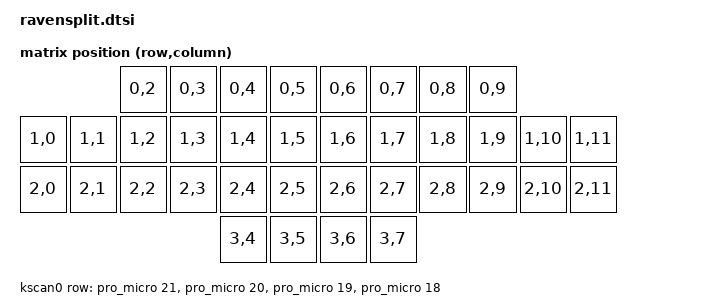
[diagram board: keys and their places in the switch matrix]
#include <dt-bindings/zmk/matrix_transform.h>


/ {
    chosen {
        zmk,kscan = &kscan0;
        zmk,matrix_transform = &default_transform;
    };

    default_transform: keymap_transform_0 {
        compatible = "zmk,matrix-transform";
        columns = <12>;
        rows = <4>;

        map = <
                RC(0,2) RC(0,3) RC(0,4) RC(0,5)  RC(0,6) RC(0,7) RC(0,8) RC(0,9)
RC(1,0) RC(1,1) RC(1,2) RC(1,3) RC(1,4) RC(1,5)  RC(1,6) RC(1,7) RC(1,8) RC(1,9) RC(1,10) RC(1,11)
RC(2,0) RC(2,1) RC(2,2) RC(2,3) RC(2,4) RC(2,5)  RC(2,6) RC(2,7) RC(2,8) RC(2,9) RC(2,10) RC(2,11)
                                RC(3,4) RC(3,5)  RC(3,6) RC(3,7)
        >;
    };

    kscan0: kscan_0 {
        compatible = "zmk,kscan-gpio-matrix";
        wakeup-source;

        diode-direction = "col2row";

        row-gpios
            = <&pro_micro 21 (GPIO_ACTIVE_HIGH | GPIO_PULL_DOWN)> // R0
            , <&pro_micro 20 (GPIO_ACTIVE_HIGH | GPIO_PULL_DOWN)> // R1
            , <&pro_micro 19 (GPIO_ACTIVE_HIGH | GPIO_PULL_DOWN)> // R2
            , <&pro_micro 18 (GPIO_ACTIVE_HIGH | GPIO_PULL_DOWN)> // R3
            ;
    };

    glidepoint_listener: glidepoint_listener {
        compatible = "zmk,input-listener";
        status = "disabled";
        device = <&glidepoint>;
    };
};

&pinctrl {
    /* configuration for spi0 device, default state */
    spi0_default: spi0_default {
        /* node name is arbitrary */
        group1 {
            /* main role: configure P0.20 (D3) as SPI clock, P0.11 (D7) as SPI MOSI, P0.22 (D4) as SPI MISO */
            psels = <NRF_PSEL(SPIM_SCK, 0, 20)>,
                    <NRF_PSEL(SPIM_MOSI, 0, 11)>,
                    <NRF_PSEL(SPIM_MISO, 0, 22)>;
        };
    };
    /* configuration for spi0 device, sleep state */
    spi0_sleep: spi0_sleep {
        group1 {
            /* main role: configure P0.20 (D3) as SPI clock, P0.11 (D7) as SPI MOSI, P0.22 (D4) as SPI MISO */
            psels = <NRF_PSEL(SPIM_SCK, 0, 20)>,
                    <NRF_PSEL(SPIM_MOSI, 0, 11)>,
                    <NRF_PSEL(SPIM_MISO, 0, 22)>;
            low-power-enable;
        };
    };
};
cirque_spi: &spi0 {
    status = "okay";
    pinctrl-0 = <&spi0_default>;
    pinctrl-1 = <&spi0_sleep>;
    pinctrl-names = "default", "sleep";

    cs-gpios = <&pro_micro 5 GPIO_ACTIVE_LOW>;
    glidepoint: glidepoint@0 {
        compatible = "cirque,pinnacle";
        reg = <0>;
        spi-max-frequency = <1000000>;
        status = "okay";
        dr-gpios = <&pro_micro 6 (GPIO_ACTIVE_HIGH)>;
        sensitivity = "1x";
        x-invert;
    };
};
